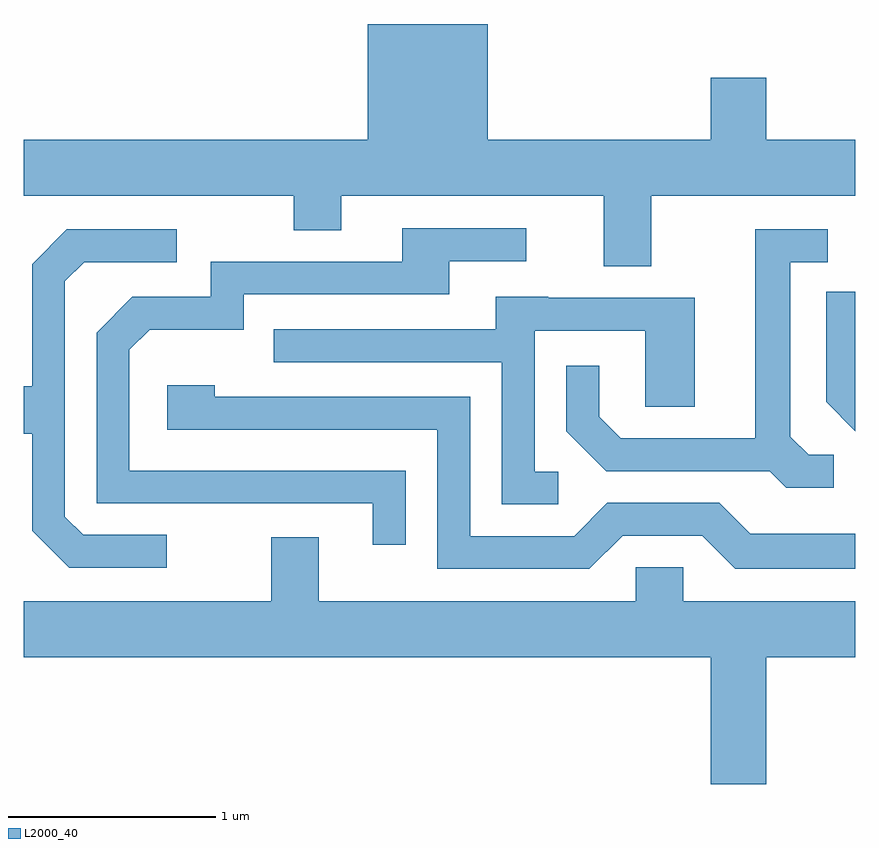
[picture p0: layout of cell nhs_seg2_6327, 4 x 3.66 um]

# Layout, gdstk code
import gdstk
lib = gdstk.Library(unit=1e-6, precision=1e-09)
def P(c, l, *ps):  # polygons
    for p in ps: c.add(gdstk.Polygon(p, *l))
L2000_40 = (2000, 40)

nhs_seg2_6327 = lib.new_cell('nhs_seg2_6327')
P(nhs_seg2_6327, L2000_40, [(371.611,1054.976),(372.911,1054.976),(372.911,1054.811),(373.139,1054.811),(373.139,1054.976),(374.401,1054.976),(374.401,1054.636),(374.629,1054.636),(374.629,1054.976),(375.611,1054.976),(375.611,1055.244),(375.184,1055.244),(375.184,1055.544),(374.916,1055.544),(374.916,1055.244),(373.844,1055.244),(373.844,1055.802),(373.266,1055.802),(373.266,1055.244),(371.611,1055.244)],
  [(373.449,1053.654),(372.119,1053.654),(372.119,1054.234),(372.217,1054.331),(372.669,1054.331),(372.669,1054.501),(373.659,1054.501),(373.659,1054.661),(374.028,1054.661),(374.028,1054.819),(373.431,1054.819),(373.431,1054.659),(372.511,1054.659),(372.511,1054.489),(372.134,1054.489),(371.961,1054.317),(371.961,1053.496),(373.291,1053.496),(373.291,1053.298),(373.449,1053.298)],
  [(375.508,1053.729),(375.387,1053.729),(375.299,1053.817),(375.299,1054.656),(375.478,1054.656),(375.478,1054.814),(375.131,1054.814),(375.131,1053.809),(374.482,1053.809),(374.379,1053.912),(374.379,1054.158),(374.221,1054.158),(374.221,1053.844),(374.414,1053.651),(375.199,1053.651),(375.279,1053.571),(375.508,1053.571)],
  [(372.298,1053.344),(371.897,1053.344),(371.809,1053.432),(371.809,1054.564),(371.902,1054.656),(372.348,1054.656),(372.348,1054.814),(371.819,1054.814),(371.651,1054.647),(371.651,1054.059),(371.611,1054.059),(371.611,1053.831),(371.651,1053.831),(371.651,1053.364),(371.829,1053.186),(372.298,1053.186)],
  [(375.611,1054.513),(375.471,1054.513),(375.471,1053.984),(375.611,1053.844)],
  [(374.183,1053.649),(374.069,1053.649),(374.069,1054.326),(374.601,1054.326),(374.601,1053.961),(374.839,1053.961),(374.839,1054.484),(374.135,1054.484),(374.135,1054.489),(373.881,1054.489),(373.881,1054.334),(372.813,1054.334),(372.813,1054.176),(373.911,1054.176),(373.911,1053.491),(374.183,1053.491)],
  [(374.492,1053.341),(374.874,1053.341),(375.034,1053.181),(375.611,1053.181),(375.611,1053.349),(375.107,1053.349),(374.957,1053.499),(374.419,1053.499),(374.259,1053.339),(373.759,1053.339),(373.759,1054.009),(372.529,1054.009),(372.529,1054.064),(372.301,1054.064),(372.301,1053.851),(373.601,1053.851),(373.601,1053.181),(374.332,1053.181)],
  [(375.184,1052.756),(375.611,1052.756),(375.611,1053.024),(374.784,1053.024),(374.784,1053.189),(374.556,1053.189),(374.556,1053.024),(373.029,1053.024),(373.029,1053.334),(372.801,1053.334),(372.801,1053.024),(371.611,1053.024),(371.611,1052.756),(374.916,1052.756),(374.916,1052.146),(375.184,1052.146)])

lib.write_gds('nhs_seg2_6327.gds')
